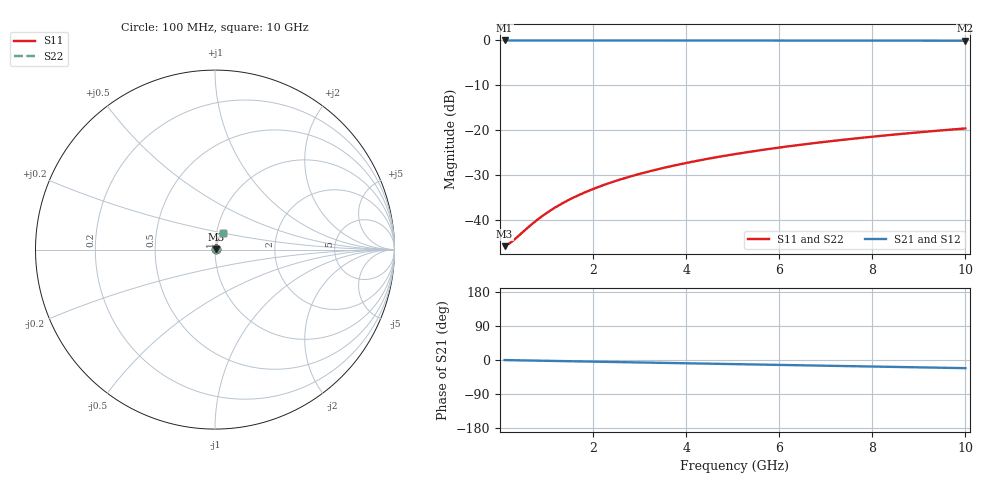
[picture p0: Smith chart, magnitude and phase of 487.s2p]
# Hz S RI R 50.00
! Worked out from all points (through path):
!   100 points, 100 MHz to 10 GHz, reference 50 ohm
!   highest |S21| = -0.04 dB at 100 MHz (marker M1); lowest = -0.1 dB at 10 GHz (marker M2)
!   group delay of S21, straight-line fit = 5.98 ps
!   lowest |S11| = -45.9 dB at 100 MHz (marker M3), VSWR 1.01, Z = 50.5 + j0.106 ohm
!   |S11| at or under -10 dB: start of sweep to end of sweep
!   |S22| runs from -45.9 to -19.7 dB; largest |S21 - S12| = 0
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1e8  0.00494 0.00105  0.9951 -0.00375  0.9951 -0.00375  0.00494 0.00105
2e8  0.00498 0.00209  0.995 -0.00749  0.995 -0.00749  0.00498 0.00209
3e8  0.00503 0.00314  0.9949 -0.0112  0.9949 -0.0112  0.00503 0.00314
7e8  0.00524 0.00733  0.9946 -0.0262  0.9946 -0.0262  0.00524 0.00733
8e8  0.00531 0.00837  0.9944 -0.03  0.9944 -0.03  0.00531 0.00837
1e9  0.00548 0.0105  0.9941 -0.0374  0.9941 -0.0374  0.00548 0.0105
1.2e9  0.00567 0.0125  0.9938 -0.0449  0.9938 -0.0449  0.00567 0.0125
1.4e9  0.00589 0.0146  0.9934 -0.0524  0.9934 -0.0524  0.00589 0.0146
1.6e9  0.00614 0.0167  0.9929 -0.0599  0.9929 -0.0599  0.00614 0.0167
1.8e9  0.00642 0.0188  0.9924 -0.0673  0.9924 -0.0673  0.00642 0.0188
2.1e9  0.0069 0.0219  0.9914 -0.0785  0.9914 -0.0785  0.0069 0.0219
2.5e9  0.00764 0.026  0.99 -0.0934  0.99 -0.0934  0.00764 0.026
2.9e9  0.00851 0.0301  0.9883 -0.1083  0.9883 -0.1083  0.00851 0.0301
3.4e9  0.00977 0.0352  0.9859 -0.1269  0.9859 -0.1269  0.00977 0.0352
3.8e9  0.0109 0.0392  0.9837 -0.1417  0.9837 -0.1417  0.0109 0.0392
4.2e9  0.0122 0.0432  0.9813 -0.1564  0.9813 -0.1564  0.0122 0.0432
5.1e9  0.0154 0.052  0.9749 -0.1894  0.9749 -0.1894  0.0154 0.052
5.9e9  0.0188 0.0596  0.9683 -0.2185  0.9683 -0.2185  0.0188 0.0596
6.7e9  0.0227 0.067  0.9607 -0.2474  0.9607 -0.2474  0.0227 0.067
7.5e9  0.027 0.0741  0.9522 -0.276  0.9522 -0.276  0.027 0.0741
8.4e9  0.0323 0.0818  0.9416 -0.3077  0.9416 -0.3077  0.0323 0.0818
1e10  0.043 0.0946  0.92 -0.363  0.92 -0.363  0.043 0.0946
